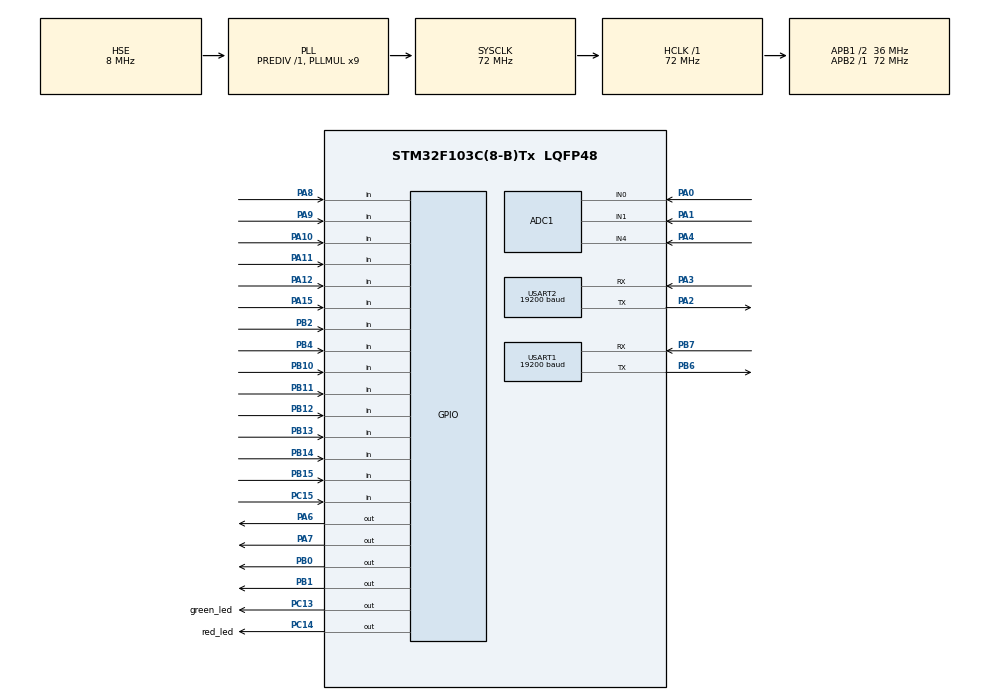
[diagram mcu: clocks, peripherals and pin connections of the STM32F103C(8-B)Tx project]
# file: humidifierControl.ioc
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ADC1.Channel-38\#ChannelRegularConversion=ADC_CHANNEL_0
ADC1.Channel-39\#ChannelRegularConversion=ADC_CHANNEL_1
ADC1.Channel-40\#ChannelRegularConversion=ADC_CHANNEL_4
ADC1.ContinuousConvMode=ENABLE
ADC1.DataAlign=ADC_DATAALIGN_RIGHT
ADC1.DiscontinuousConvMode=DISABLE
ADC1.EnableAnalogWatchDog=false
ADC1.EnableRegularConversion=ENABLE
ADC1.ExternalTrigConv=ADC_SOFTWARE_START
ADC1.InjNumberOfConversion=0
ADC1.NbrOfConversion=3
ADC1.NbrOfConversionFlag=1
ADC1.Rank-38\#ChannelRegularConversion=1
ADC1.Rank-39\#ChannelRegularConversion=2
ADC1.Rank-40\#ChannelRegularConversion=3
ADC1.SamplingTime-38\#ChannelRegularConversion=ADC_SAMPLETIME_55CYCLES_5
ADC1.SamplingTime-39\#ChannelRegularConversion=ADC_SAMPLETIME_55CYCLES_5
ADC1.SamplingTime-40\#ChannelRegularConversion=ADC_SAMPLETIME_55CYCLES_5
ADC1.ScanConvMode=ADC_SCAN_ENABLE
ADC1.master=1
Dma.ADC1.4.Direction=DMA_PERIPH_TO_MEMORY
Dma.ADC1.4.Instance=DMA1_Channel1
Dma.ADC1.4.MemDataAlignment=DMA_MDATAALIGN_HALFWORD
Dma.ADC1.4.MemInc=DMA_MINC_ENABLE
Dma.ADC1.4.Mode=DMA_CIRCULAR
Dma.ADC1.4.PeriphDataAlignment=DMA_PDATAALIGN_HALFWORD
Dma.ADC1.4.PeriphInc=DMA_PINC_DISABLE
Dma.ADC1.4.Priority=DMA_PRIORITY_LOW
Dma.Request0=USART2_RX
Dma.Request1=USART2_TX
Dma.Request2=USART1_RX
Dma.Request3=USART1_TX
Dma.Request4=ADC1
Dma.USART1_RX.2.Direction=DMA_PERIPH_TO_MEMORY
Dma.USART1_RX.2.Instance=DMA1_Channel5
Dma.USART1_RX.2.MemDataAlignment=DMA_MDATAALIGN_BYTE
Dma.USART1_RX.2.MemInc=DMA_MINC_ENABLE
Dma.USART1_RX.2.Mode=DMA_NORMAL
Dma.USART1_RX.2.PeriphDataAlignment=DMA_PDATAALIGN_BYTE
Dma.USART1_RX.2.PeriphInc=DMA_PINC_DISABLE
Dma.USART1_RX.2.Priority=DMA_PRIORITY_MEDIUM
Dma.USART1_TX.3.Direction=DMA_MEMORY_TO_PERIPH
Dma.USART1_TX.3.Instance=DMA1_Channel4
Dma.USART1_TX.3.MemDataAlignment=DMA_MDATAALIGN_BYTE
Dma.USART1_TX.3.MemInc=DMA_MINC_ENABLE
Dma.USART1_TX.3.Mode=DMA_NORMAL
Dma.USART1_TX.3.PeriphDataAlignment=DMA_PDATAALIGN_BYTE
Dma.USART1_TX.3.PeriphInc=DMA_PINC_DISABLE
Dma.USART1_TX.3.Priority=DMA_PRIORITY_MEDIUM
Dma.USART2_RX.0.Direction=DMA_PERIPH_TO_MEMORY
Dma.USART2_RX.0.Instance=DMA1_Channel6
Dma.USART2_RX.0.MemDataAlignment=DMA_MDATAALIGN_BYTE
Dma.USART2_RX.0.MemInc=DMA_MINC_ENABLE
Dma.USART2_RX.0.Mode=DMA_NORMAL
Dma.USART2_RX.0.PeriphDataAlignment=DMA_PDATAALIGN_BYTE
Dma.USART2_RX.0.PeriphInc=DMA_PINC_DISABLE
Dma.USART2_RX.0.Priority=DMA_PRIORITY_MEDIUM
Dma.USART2_TX.1.Direction=DMA_MEMORY_TO_PERIPH
Dma.USART2_TX.1.Instance=DMA1_Channel7
Dma.USART2_TX.1.MemDataAlignment=DMA_MDATAALIGN_BYTE
Dma.USART2_TX.1.MemInc=DMA_MINC_ENABLE
Dma.USART2_TX.1.Mode=DMA_NORMAL
Dma.USART2_TX.1.PeriphDataAlignment=DMA_PDATAALIGN_BYTE
Dma.USART2_TX.1.PeriphInc=DMA_PINC_DISABLE
Dma.USART2_TX.1.Priority=DMA_PRIORITY_MEDIUM
FREERTOS.Tasks01=initTask,0,128,StartInittTask,Default,NULL,Dynamic,NULL,NULL
FREERTOS.configTOTAL_HEAP_SIZE=6144
Mcu.Family=STM32F1
Mcu.Name=STM32F103C(8-B)Tx
Mcu.Package=LQFP48
NVIC.DMA1_Channel1_IRQn=true\:5\:0\:false\:false\:true\:true\:false
NVIC.DMA1_Channel4_IRQn=true\:5\:0\:false\:false\:true\:true\:false
NVIC.DMA1_Channel5_IRQn=true\:5\:0\:false\:false\:true\:true\:false
NVIC.DMA1_Channel6_IRQn=true\:5\:0\:false\:false\:true\:true\:false
NVIC.DMA1_Channel7_IRQn=true\:5\:0\:false\:false\:true\:true\:false
NVIC.PriorityGroup=NVIC_PRIORITYGROUP_4
NVIC.TIM2_IRQn=true\:5\:0\:false\:false\:true\:true\:true
NVIC.TIM3_IRQn=true\:5\:0\:false\:false\:true\:true\:true
NVIC.TIM4_IRQn=true\:0\:0\:false\:false\:true\:false\:false
NVIC.TimeBase=TIM4_IRQn
NVIC.TimeBaseIP=TIM4
NVIC.USART1_IRQn=true\:5\:0\:false\:false\:true\:true\:true
NVIC.USART2_IRQn=true\:5\:0\:false\:false\:true\:true\:true
PA0-WKUP.Signal=ADCx_IN0
PA1.Signal=ADCx_IN1
PA10.GPIO_PuPd=GPIO_PULLUP
PA10.Signal=GPIO_Input
PA11.GPIO_PuPd=GPIO_PULLUP
PA11.Signal=GPIO_Input
PA12.GPIO_PuPd=GPIO_PULLUP
PA12.Signal=GPIO_Input
PA13.Mode=Serial_Wire
PA13.Signal=SYS_JTMS-SWDIO
PA14.Mode=Serial_Wire
PA14.Signal=SYS_JTCK-SWCLK
PA15.GPIO_PuPd=GPIO_PULLDOWN
PA15.Signal=GPIO_Input
PA2.Mode=Asynchronous
PA2.Signal=USART2_TX
PA3.Mode=Asynchronous
PA3.Signal=USART2_RX
PA4.Signal=ADCx_IN4
PA6.Signal=GPIO_Output
PA7.Signal=GPIO_Output
PA8.GPIO_PuPd=GPIO_PULLUP
PA8.Signal=GPIO_Input
PA9.GPIO_PuPd=GPIO_PULLUP
PA9.Signal=GPIO_Input
PB0.Signal=GPIO_Output
PB1.Signal=GPIO_Output
PB10.GPIO_PuPd=GPIO_PULLUP
PB10.Signal=GPIO_Input
PB11.GPIO_PuPd=GPIO_PULLUP
PB11.Signal=GPIO_Input
PB12.GPIO_PuPd=GPIO_PULLUP
PB12.Signal=GPIO_Input
PB13.GPIO_PuPd=GPIO_PULLUP
PB13.Signal=GPIO_Input
PB14.GPIO_PuPd=GPIO_PULLUP
PB14.Signal=GPIO_Input
PB15.GPIO_PuPd=GPIO_PULLUP
PB15.Signal=GPIO_Input
PB2.GPIO_PuPd=GPIO_PULLUP
PB2.Signal=GPIO_Input
PB4.GPIO_PuPd=GPIO_PULLDOWN
PB4.Signal=GPIO_Input
PB6.Mode=Asynchronous
PB6.Signal=USART1_TX
PB7.Mode=Asynchronous
PB7.Signal=USART1_RX
PC13-TAMPER-RTC.GPIO_Label=green_led
PC13-TAMPER-RTC.Signal=GPIO_Output
PC14-OSC32_IN.GPIO_Label=red_led
PC14-OSC32_IN.Signal=GPIO_Output
PC15-OSC32_OUT.GPIO_PuPd=GPIO_PULLUP
PC15-OSC32_OUT.Signal=GPIO_Input
PD0-OSC_IN.Mode=HSE-External-Oscillator
PD0-OSC_IN.Signal=RCC_OSC_IN
PD1-OSC_OUT.Mode=HSE-External-Oscillator
PD1-OSC_OUT.Signal=RCC_OSC_OUT
ProjectManager.HeapSize=0x200
ProjectManager.StackSize=0x400
ProjectManager.TargetToolchain=TrueSTUDIO
RCC.ADCPresc=RCC_ADCPCLK2_DIV6
RCC.AHBFreq_Value=72000000
RCC.APB1CLKDivider=RCC_HCLK_DIV2
RCC.APB1Freq_Value=36000000
RCC.APB1TimFreq_Value=72000000
RCC.APB2Freq_Value=72000000
RCC.APB2TimFreq_Value=72000000
RCC.HCLKFreq_Value=72000000
RCC.PLLMUL=RCC_PLL_MUL9
RCC.PLLSourceVirtual=RCC_PLLSOURCE_HSE
RCC.SYSCLKFreq_VALUE=72000000
RCC.SYSCLKSource=RCC_SYSCLKSOURCE_PLLCLK
RCC.USBFreq_Value=72000000
SH.ADCx_IN0.0=ADC1_IN0,IN0
SH.ADCx_IN1.0=ADC1_IN1,IN1
SH.ADCx_IN4.0=ADC1_IN4,IN4
TIM2.Period=1000
TIM2.Prescaler=7100
TIM3.Period=10000
TIM3.Prescaler=7100
USART1.BaudRate=19200
USART1.VirtualMode=VM_ASYNC
USART2.BaudRate=19200
USART2.VirtualMode=VM_ASYNC
VP_FREERTOS_VS_ENABLE.Mode=Enabled
VP_IWDG_VS_IWDG.Mode=IWDG_Activate
VP_SYS_VS_tim4.Mode=TIM4
VP_TIM2_VS_ClockSourceINT.Mode=Internal
VP_TIM3_VS_ClockSourceINT.Mode=Internal
board=humidifierControl

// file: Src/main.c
/**
  ******************************************************************************
  * @file           : main.c
  * @brief          : Main program body
  ******************************************************************************
  * This notice applies to any and all portions of this file
  * that are not between comment pairs USER CODE BEGIN and
  * USER CODE END. Other portions of this file, whether
  * inserted by the user or by software development tools
  * are owned by their respective copyright owners.
  *
  * Copyright (c) 2018 STMicroelectronics International N.V.
  * All rights reserved.
  *
  * Redistribution and use in source and binary forms, with or without
  * modification, are permitted, provided that the following conditions are met:
  *
  * 1. Redistribution of source code must retain the above copyright notice,
  *    this list of conditions and the following disclaimer.
  * 2. Redistributions in binary form must reproduce the above copyright notice,
  *    this list of conditions and the following disclaimer in the documentation
  *    and/or other materials provided with the distribution.
  * 3. Neither the name of STMicroelectronics nor the names of other
  *    contributors to this software may be used to endorse or promote products
  *    derived from this software without specific written permission.
  * 4. This software, including modifications and/or derivative works of this
  *    software, must execute solely and exclusively on microcontroller or
  *    microprocessor devices manufactured by or for STMicroelectronics.
  * 5. Redistribution and use of this software other than as permitted under
  *    this license is void and will automatically terminate your rights under
  *    this license.
  *
  * THIS SOFTWARE IS PROVIDED BY STMICROELECTRONICS AND CONTRIBUTORS "AS IS"
  * AND ANY EXPRESS, IMPLIED OR STATUTORY WARRANTIES, INCLUDING, BUT NOT
  * LIMITED TO, THE IMPLIED WARRANTIES OF MERCHANTABILITY, FITNESS FOR A
  * PARTICULAR PURPOSE AND NON-INFRINGEMENT OF THIRD PARTY INTELLECTUAL PROPERTY
  * RIGHTS ARE DISCLAIMED TO THE FULLEST EXTENT PERMITTED BY LAW. IN NO EVENT
  * SHALL STMICROELECTRONICS OR CONTRIBUTORS BE LIABLE FOR ANY DIRECT, INDIRECT,
  * INCIDENTAL, SPECIAL, EXEMPLARY, OR CONSEQUENTIAL DAMAGES (INCLUDING, BUT NOT
  * LIMITED TO, PROCUREMENT OF SUBSTITUTE GOODS OR SERVICES; LOSS OF USE, DATA,
  * OR PROFITS; OR BUSINESS INTERRUPTION) HOWEVER CAUSED AND ON ANY THEORY OF
  * LIABILITY, WHETHER IN CONTRACT, STRICT LIABILITY, OR TORT (INCLUDING
  * NEGLIGENCE OR OTHERWISE) ARISING IN ANY WAY OUT OF THE USE OF THIS SOFTWARE,
  * EVEN IF ADVISED OF THE POSSIBILITY OF SUCH DAMAGE.
  *
  ******************************************************************************
  */
#include "main.h"
#include "stm32f1xx_hal.h"
#include "cmsis_os.h"
#include "adc.h"
#include "dma.h"
#include "iwdg.h"
#include "tim.h"
#include "usart.h"
#include "gpio.h"

/* USER CODE BEGIN Includes */

#include "dataProcessing.h"
#include "humiCtrl.h"

/* USER CODE END Includes */

/* USER CODE BEGIN PV */
/* Private variables ---------------------------------------------------------*/

/* USER CODE END PV */

void SystemClock_Config(void);
void MX_FREERTOS_Init(void);

/* USER CODE BEGIN PFP */
/* Private function prototypes -----------------------------------------------*/

/* USER CODE END PFP */

int main(void)
{

  /* MCU Configuration----------------------------------------------------------*/

  /* Reset of all peripherals, Initializes the Flash interface and the Systick. */
  HAL_Init();

  /* Configure the system clock */
  SystemClock_Config();

  /* Initialize all configured peripherals */
  MX_GPIO_Init();
  MX_DMA_Init();
  MX_USART2_UART_Init();
  MX_ADC1_Init();
  MX_USART1_UART_Init();
  MX_TIM3_Init();
  MX_IWDG_Init();
  MX_TIM2_Init();
  /* USER CODE BEGIN 2 */

  __HAL_UART_ENABLE_IT(&huart1, UART_IT_IDLE);    //使能空闲中断
  __HAL_UART_ENABLE_IT(&huart2, UART_IT_IDLE);

  HAL_ADCEx_Calibration_Start(&hadc1);
  HAL_ADC_Start_DMA(&hadc1, (uint32_t *)ADC_ConvertedValue, 3);
  HAL_TIM_Base_Start_IT(&htim2);
  HAL_TIM_Base_Start_IT(&htim3);

  /* USER CODE END 2 */

  /* Call init function for freertos objects (in freertos.c) */
  MX_FREERTOS_Init();

  /* Start scheduler */
  osKernelStart();

  /* We should never get here as control is now taken by the scheduler */

  /* Infinite loop */
  while (1)
  {

  }

}

void SystemClock_Config(void)
{

  RCC_OscInitTypeDef RCC_OscInitStruct;
  RCC_ClkInitTypeDef RCC_ClkInitStruct;
  RCC_PeriphCLKInitTypeDef PeriphClkInit;

    /**Initializes the CPU, AHB and APB busses clocks
    */
  RCC_OscInitStruct.OscillatorType = RCC_OSCILLATORTYPE_LSI|RCC_OSCILLATORTYPE_HSE;
  RCC_OscInitStruct.HSEState = RCC_HSE_ON;
  RCC_OscInitStruct.HSEPredivValue = RCC_HSE_PREDIV_DIV1;
  RCC_OscInitStruct.HSIState = RCC_HSI_ON;
  RCC_OscInitStruct.LSIState = RCC_LSI_ON;
  RCC_OscInitStruct.PLL.PLLState = RCC_PLL_ON;
  RCC_OscInitStruct.PLL.PLLSource = RCC_PLLSOURCE_HSE;
  RCC_OscInitStruct.PLL.PLLMUL = RCC_PLL_MUL9;
  if (HAL_RCC_OscConfig(&RCC_OscInitStruct) != HAL_OK)
  {
    _Error_Handler(__FILE__, __LINE__);
  }

    /**Initializes the CPU, AHB and APB busses clocks
    */
  RCC_ClkInitStruct.ClockType = RCC_CLOCKTYPE_HCLK|RCC_CLOCKTYPE_SYSCLK
                              |RCC_CLOCKTYPE_PCLK1|RCC_CLOCKTYPE_PCLK2;
  RCC_ClkInitStruct.SYSCLKSource = RCC_SYSCLKSOURCE_PLLCLK;
  RCC_ClkInitStruct.AHBCLKDivider = RCC_SYSCLK_DIV1;
  RCC_ClkInitStruct.APB1CLKDivider = RCC_HCLK_DIV2;
  RCC_ClkInitStruct.APB2CLKDivider = RCC_HCLK_DIV1;

  if (HAL_RCC_ClockConfig(&RCC_ClkInitStruct, FLASH_LATENCY_2) != HAL_OK)
  {
    _Error_Handler(__FILE__, __LINE__);
  }

  PeriphClkInit.PeriphClockSelection = RCC_PERIPHCLK_ADC;
  PeriphClkInit.AdcClockSelection = RCC_ADCPCLK2_DIV6;
  if (HAL_RCCEx_PeriphCLKConfig(&PeriphClkInit) != HAL_OK)
  {
    _Error_Handler(__FILE__, __LINE__);
  }

    /**Configure the Systick interrupt time
    */
  HAL_SYSTICK_Config(HAL_RCC_GetHCLKFreq()/1000);

    /**Configure the Systick
    */
  HAL_SYSTICK_CLKSourceConfig(SYSTICK_CLKSOURCE_HCLK);

  /* SysTick_IRQn interrupt configuration */
  HAL_NVIC_SetPriority(SysTick_IRQn, 15, 0);
}

void HAL_TIM_PeriodElapsedCallback(TIM_HandleTypeDef *htim)
{
  if (htim->Instance == TIM4) {
    HAL_IncTick();
  }
  /* USER CODE BEGIN Callback 1 */

  if (htim->Instance == TIM2)
  {
	  blinkFlag ^= 1;						//指示灯闪烁标志

	  ledBlinkFlagTemp4++;					//指示灯闪烁4个过程
	  if (ledBlinkFlagTemp4 > 3)
	  {
		  ledBlinkFlagTemp4 = 0;
	  }

	  ledBlinkFlagTemp8++;					//指示灯闪烁8个过程
	  if (ledBlinkFlagTemp8 > 7)
	  {
		  ledBlinkFlagTemp8 = 0;
	  }
  }
  else if (htim->Instance == TIM3)//tim3 1s中断
  {

	  if (1 == startLowerLimitCountFlag)	//低电流计时
	  {
		  lowerLimitCount++;
	  }

	  if (1 == overCurrentFlag)				//超电流计时
	  {
		  overCurrentCount++;
	  }

	  if (1 == drainWaterFlag)				//排水计时
	  {
		  drainWaterCount++;
	  }

	  if (1 == manualDrainWaterFlag)		//手动排水计时
	  {
		  manualDrainWaterCount++;
	  }

	  if (1 == extraDrainWaterFlag)			//额外排水计时
	  {
		  extraDrainWaterCount++;
	  }

	  if (1 == nonstopWorkFlag)				//连续工作计时
	  {
		  nonstopWorkCount++;
	  }

	  if (1 == inletFlag)					//进水阀开启计时
	  {
		  inletTimeCount++;
		  if (inletTimeCount > 30000)
		  {
			  inletTimeCount = 30000;
		  }
	  }
	  else {
		  inletTimeCount = 0;
	  }

	  if (1 == waterLevelFlag)				//高水位报警计时
	  {
		  waterLevelOnCount++;
		  waterLevelOffCount = 0;
		  if (waterLevelOnCount > 30000)
		  {
			  waterLevelOnCount = 30000;
		  }
	  }
	  else {
		  waterLevelOffCount++;				//水位下降计时
		  waterLevelOnCount = 0;
		  if (waterLevelOffCount > 30000)
		  {
			  waterLevelOffCount = 30000;
		  }
	  }

	  if (0 == needWashBucketFlag)				//当接触器断开开始计数，吸合归零
	  {
		  needWashBucketCount++;
	  }
	  else {
		  needWashBucketCount = 0;
	  }

	  if (1 == startDrainWaterWashBucketFlag)
	  {
		  startDrainWaterWashBucketCount++;
		  if (startDrainWaterWashBucketCount > 30000)
		  {
			  startDrainWaterWashBucketCount = 30000;
		  }
	  }

	  if (1 == stopDrainWaterWashBucketFlag)
	  {
		  stopDrainWaterWashBucketCount++;
		  if (stopDrainWaterWashBucketCount > 30000)
		  {
			  stopDrainWaterWashBucketCount = 30000;
		  }
	  }

  }
  /* USER CODE END Callback 1 */
}

void _Error_Handler(char *file, int line)
{
  while(1)
  {
  }
}

/************************ (C) COPYRIGHT STMicroelectronics *****END OF FILE****/

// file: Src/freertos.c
/**
  ******************************************************************************
  * File Name          : freertos.c
  * Description        : Code for freertos applications
  ******************************************************************************
  * This notice applies to any and all portions of this file
  * that are not between comment pairs USER CODE BEGIN and
  * USER CODE END. Other portions of this file, whether
  * inserted by the user or by software development tools
  * are owned by their respective copyright owners.
  *
  * Copyright (c) 2018 STMicroelectronics International N.V.
  * All rights reserved.
  *
  * Redistribution and use in source and binary forms, with or without
  * modification, are permitted, provided that the following conditions are met:
  *
  * 1. Redistribution of source code must retain the above copyright notice,
  *    this list of conditions and the following disclaimer.
  * 2. Redistributions in binary form must reproduce the above copyright notice,
  *    this list of conditions and the following disclaimer in the documentation
  *    and/or other materials provided with the distribution.
  * 3. Neither the name of STMicroelectronics nor the names of other
  *    contributors to this software may be used to endorse or promote products
  *    derived from this software without specific written permission.
  * 4. This software, including modifications and/or derivative works of this
  *    software, must execute solely and exclusively on microcontroller or
  *    microprocessor devices manufactured by or for STMicroelectronics.
  * 5. Redistribution and use of this software other than as permitted under
  *    this license is void and will automatically terminate your rights under
  *    this license.
  *
  * THIS SOFTWARE IS PROVIDED BY STMICROELECTRONICS AND CONTRIBUTORS "AS IS"
  * AND ANY EXPRESS, IMPLIED OR STATUTORY WARRANTIES, INCLUDING, BUT NOT
  * LIMITED TO, THE IMPLIED WARRANTIES OF MERCHANTABILITY, FITNESS FOR A
  * PARTICULAR PURPOSE AND NON-INFRINGEMENT OF THIRD PARTY INTELLECTUAL PROPERTY
  * RIGHTS ARE DISCLAIMED TO THE FULLEST EXTENT PERMITTED BY LAW. IN NO EVENT
  * SHALL STMICROELECTRONICS OR CONTRIBUTORS BE LIABLE FOR ANY DIRECT, INDIRECT,
  * INCIDENTAL, SPECIAL, EXEMPLARY, OR CONSEQUENTIAL DAMAGES (INCLUDING, BUT NOT
  * LIMITED TO, PROCUREMENT OF SUBSTITUTE GOODS OR SERVICES; LOSS OF USE, DATA,
  * OR PROFITS; OR BUSINESS INTERRUPTION) HOWEVER CAUSED AND ON ANY THEORY OF
  * LIABILITY, WHETHER IN CONTRACT, STRICT LIABILITY, OR TORT (INCLUDING
  * NEGLIGENCE OR OTHERWISE) ARISING IN ANY WAY OUT OF THE USE OF THIS SOFTWARE,
  * EVEN IF ADVISED OF THE POSSIBILITY OF SUCH DAMAGE.
  *
  ******************************************************************************
  */

#include "FreeRTOS.h"
#include "task.h"
#include "cmsis_os.h"

/* USER CODE BEGIN Includes */

#include "usart.h"
#include "modbusSlave.h"
#include "modbusMaster.h"
#include "dataProcessing.h"
#include "humiCtrl.h"
#include "iwdg.h"
/* USER CODE END Includes */

osThreadId initTaskHandle;

/* USER CODE BEGIN Variables */

osThreadId dataProcessingTaskHandle;
osThreadId modbusSlaveTaskHandle;
osThreadId modbusMasterTaskHandle;
osThreadId checkKeyPressedHandle;
osThreadId humiCtrlHandle;

/* USER CODE END Variables */

void StartInittTask(void const * argument);

void MX_FREERTOS_Init(void); /* (MISRA C 2004 rule 8.1) */

/* USER CODE BEGIN FunctionPrototypes */

void StartDataProCessingTask(void const * argument);
void StartModbusSlaveTask(void const * argument);
void StartModbusMasterTask(void const * argument);
void StartCheckKeyPressedTask(void const * argument);
void StartHumiCtrlTask(void const * argument);

/* USER CODE END FunctionPrototypes */

/* Hook prototypes */

/* Init FreeRTOS */

void MX_FREERTOS_Init(void) {

  /* Create the thread(s) */
  /* definition and creation of initTask */
  osThreadDef(initTask, StartInittTask, osPriorityNormal, 0, 128);
  initTaskHandle = osThreadCreate(osThread(initTask), NULL);

}

/* StartInittTask function */
void StartInittTask(void const * argument)
{

  /* USER CODE BEGIN StartInittTask */

	dialSwitchInit();
	humiCtrlInit();
	fristWashBucket();

	osThreadDef(dataProCessingTask, StartDataProCessingTask, osPriorityNormal, 0, 128);
	dataProcessingTaskHandle = osThreadCreate(osThread(dataProCessingTask), NULL);

	osThreadDef(modbusSlaveTask, StartModbusSlaveTask, osPriorityNormal, 0, 128);
	modbusSlaveTaskHandle = osThreadCreate(osThread(modbusSlaveTask), NULL);

	osThreadDef(modbusMasterTask, StartModbusMasterTask, osPriorityNormal, 0, 128);
	modbusMasterTaskHandle = osThreadCreate(osThread(modbusMasterTask), NULL);

	osThreadDef(checkKeyPressedTask, StartCheckKeyPressedTask, osPriorityNormal, 0, 128);
	checkKeyPressedHandle = osThreadCreate(osThread(checkKeyPressedTask), NULL);

	osThreadDef(humiCtrlTask, StartHumiCtrlTask, osPriorityNormal, 0, 128);
	humiCtrlHandle = osThreadCreate(osThread(humiCtrlTask), NULL);

	osThreadTerminate(initTaskHandle);
  /* USER CODE END StartInittTask */
}

/* USER CODE BEGIN Application */

void StartHumiCtrlTask(void const * argument) {
	for (;;)
	{
		humiCtrl();
		osDelay(10);
	}
}

void StartDataProCessingTask(void const * argument) {
	for (;;)
	{
		dataProcessing();
		osDelay(100);
		HAL_IWDG_Refresh(&hiwdg);
	}
}

void StartModbusSlaveTask(void const * argument) {
	for (;;)
	{
		osDelay(10);
		modbusSlave();
		Usart2RxMonitor();
	}
}

void StartModbusMasterTask(void const * argument) {
	for (;;)
	{
		osDelay(100);
		sendDataMaster03();
		osDelay(100);
		sendDataMaster16();
	}
}

void StartCheckKeyPressedTask(void const * argument) {
	for (;;)
	{
		osDelay(1);
		keyScan();
	}
}

/* USER CODE END Application */

/************************ (C) COPYRIGHT STMicroelectronics *****END OF FILE****/
